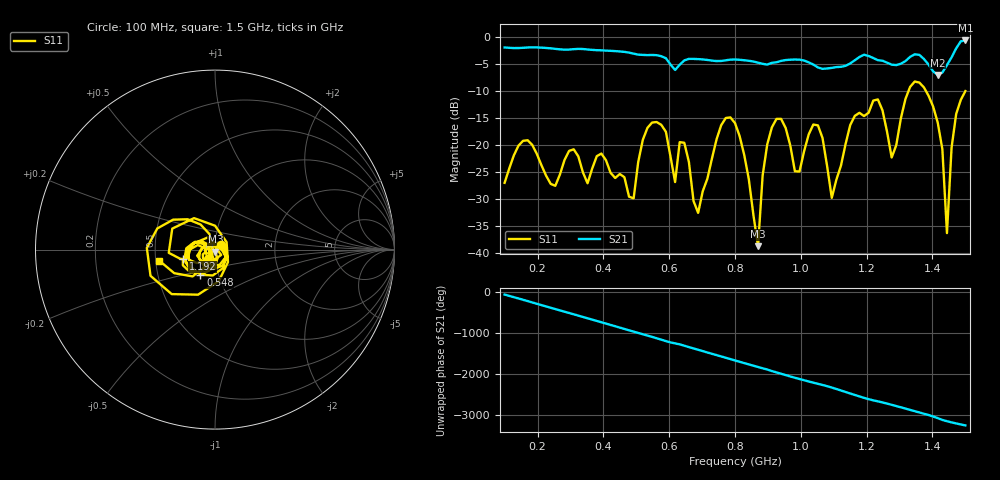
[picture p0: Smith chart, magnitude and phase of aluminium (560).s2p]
! NanoVNA-App
! Date: 2025-09-25 14:59:38
! Start: 100MHz Stop: 1,5GHz Points: 101
! S-Parameter data: F S11 S21 S12 S22
# Hz S RI R 50
!  Frequency  S11_Real  S11_Imag  S21_Real  S21_Imag  S12_Real  S12_Imag  S22_Real  S22_Imag
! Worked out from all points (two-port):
!   101 points, 100 MHz to 1.5 GHz, reference 50 ohm
!   highest |S21| = -0.62 dB at 1.5 GHz (marker M1); lowest = -7.0 dB at 1.416 GHz (marker M2)
!   |S21| within 3 dB of the highest: start of sweep to 579.2 MHz; 1.459 GHz to end of sweep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
!   lowest |S11| = -38.7 dB at 870 MHz (marker M3), VSWR 1.02, Z = 50.2 - j1.15 ohm
!   |S11| at or under -10 dB: start of sweep to 1.327 GHz; 1.38 GHz to 1.5 GHz (119.6 MHz wide, 8.3 % of centre)
!   S12 and S22 are empty: the file has one direction only
!   S11 on the Smith chart (normalised r, x): 100 MHz: 1.07, +0.06; 548 MHz: 0.82, -0.24; 1.192 GHz: 0.69, -0.08; 1.5 GHz: 0.52, -0.07
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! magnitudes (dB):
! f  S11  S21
! 100 MHz  -27.0  -1.9
! 156 MHz  -19.2  -2.0
! 338 MHz  -25.0  -2.2
! 492 MHz  -29.8  -3.1
! 548 MHz  -15.8  -3.3
! 576 MHz  -16.2  -3.5
! 646 MHz  -19.6  -4.3
! 688 MHz  -32.5  -4.1
! 800 MHz  -15.9  -4.1
! 870 MHz  -38.7  -4.7
! 912 MHz  -16.7  -4.8
! 996 MHz  -24.9  -4.2
! 1.038 GHz  -16.2  -5.1
! 1.094 GHz  -29.7  -5.7
! 1.192 GHz  -14.6  -3.3
! 1.234 GHz  -11.5  -4.3
! 1.276 GHz  -22.3  -5.1
! 1.346 GHz  -8.2  -3.2
! 1.416 GHz  -15.8  -7.0
! 1.444 GHz  -36.3  -5.2
! 1.458 GHz  -20.5  -3.8
! 1.5 GHz  -10.0  -0.6
